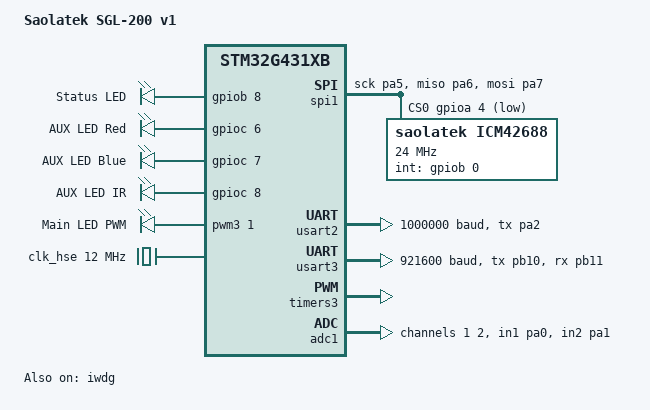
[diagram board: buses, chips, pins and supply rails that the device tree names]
/dts-v1/;
#include <st/g4/stm32g431Xb.dtsi>
#include <st/g4/stm32g431c(6-8-b)ux-pinctrl.dtsi>

/ {
	model = "Saolatek SGL-200 v1";
	compatible = "saolatek,sgl200-v1";

	chosen {
		zephyr,sram = &sram0;
		zephyr,flash = &flash0;
	};

	leds {
		compatible = "gpio-leds";

		status_led: led_0 {
			gpios = <&gpiob 8 GPIO_ACTIVE_HIGH>;
			label = "Status LED";
		};

		led_red: led_1 {
			gpios = <&gpioc 6 GPIO_ACTIVE_HIGH>;
			label = "AUX LED Red";
		};

		led_blue: led_2 {
			gpios = <&gpioc 7 GPIO_ACTIVE_HIGH>;
			label = "AUX LED Blue";
		};

		led_ir: led_3 {
			gpios = <&gpioc 8 GPIO_ACTIVE_HIGH>;
			label = "AUX LED IR";
		};
	};

	aliases {
		imu0 = &icm42688;
		led-pwm = &pwm_led;
	};

	pwmleds {
		compatible = "pwm-leds";

		pwm_led: pwm_led_0 {
			pwms = <&pwm3 1 PWM_USEC(50) PWM_POLARITY_NORMAL>;
			label = "Main LED PWM";
		};
	};
};

&clk_hse {
	status = "okay";
	clock-frequency = <DT_FREQ_M(12)>;
};

&pll {
	div-m = <3>;
	mul-n = <85>;
	div-p = <2>;
	div-q = <2>;
	div-r = <2>;
	clocks = <&clk_hse>;
	status = "okay";
};

&rcc {
	clocks = <&pll>;
	clock-frequency = <DT_FREQ_M(170)>;
	ahb-prescaler = <1>;
	apb1-prescaler = <1>;
	apb2-prescaler = <1>;
};

&spi1 {
	status = "okay";
	pinctrl-0 = <&spi1_sck_pa5 &spi1_miso_pa6 &spi1_mosi_pa7>;
	pinctrl-names = "default";
	cs-gpios = <&gpioa 4 GPIO_ACTIVE_LOW>;

	icm42688: icm42688@0 {
		compatible = "saolatek,icm42688";
		reg = <0>;
		spi-max-frequency = <DT_FREQ_M(24)>;
		int-gpios = <&gpiob 0 GPIO_ACTIVE_HIGH>;
	};
};

&usart2 {
	status = "okay";
	pinctrl-0 = <&usart2_tx_pa2>;
	pinctrl-names = "default";
	current-speed = <1000000>;
	single-wire;
};

&usart3 {
	status = "okay";
	pinctrl-0 = <&usart3_tx_pb10 &usart3_rx_pb11>;
	pinctrl-names = "default";
	current-speed = <921600>;
};

&timers3 {
	status = "okay";

	pwm3: pwm {
		status = "okay";
		pinctrl-0 = <&tim3_ch1_pb4>;
		pinctrl-names = "default";
	};
};

&adc1 {
	status = "okay";
	pinctrl-0 = <&adc1_in1_pa0 &adc1_in2_pa1>;
	pinctrl-names = "default";
	st,adc-clock-source = <SYNC>;
	st,adc-prescaler = <4>;
	#address-cells = <1>;
	#size-cells = <0>;

	channel@1 {
		reg = <1>;
		zephyr,gain = "ADC_GAIN_1";
		zephyr,reference = "ADC_REF_VDD_1";
		zephyr,acquisition-time = <ADC_ACQ_TIME_DEFAULT>;
		zephyr,resolution = <12>;
	};

	channel@2 {
		reg = <2>;
		zephyr,gain = "ADC_GAIN_1";
		zephyr,reference = "ADC_REF_VDD_1";
		zephyr,acquisition-time = <ADC_ACQ_TIME_DEFAULT>;
		zephyr,resolution = <12>;
	};
};

&fdcan1 {
	status = "disabled";
};

&iwdg {
	status = "okay";
};
